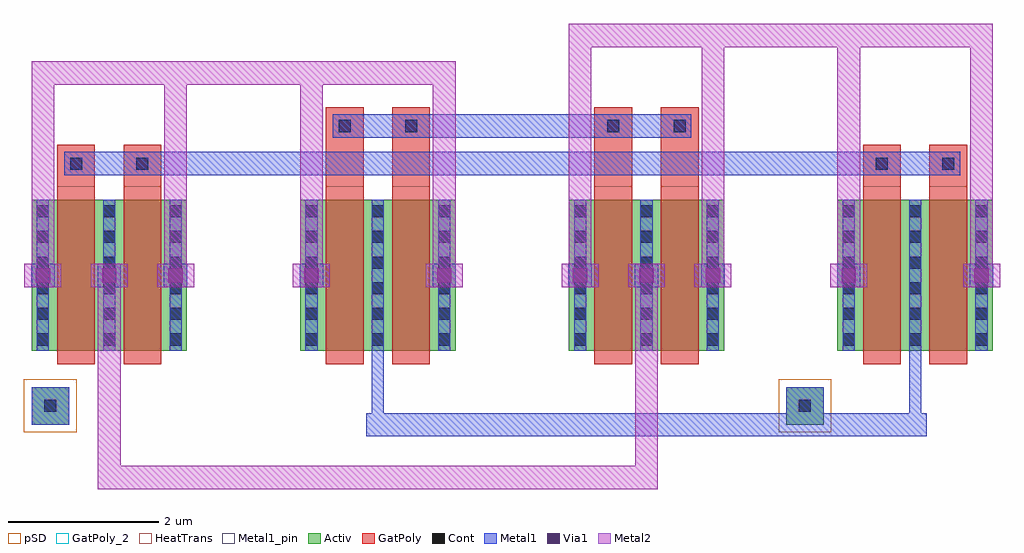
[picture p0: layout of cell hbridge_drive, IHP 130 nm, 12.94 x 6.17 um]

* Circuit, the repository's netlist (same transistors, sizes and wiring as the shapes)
* hbridge_drive LVS schematic (ng=2 expanded)
.subckt hbridge_drive exc_out probe_p probe_n phi_p phi_n gnd
MMS1_0 exc_out phi_p probe_p gnd sg13_lv_nmos w=2u l=0.5u ng=1 m=1
MMS1_1 probe_p phi_p exc_out gnd sg13_lv_nmos w=2u l=0.5u ng=1 m=1
MMS2_0 gnd phi_n probe_p gnd sg13_lv_nmos w=2u l=0.5u ng=1 m=1
MMS2_1 probe_p phi_n gnd gnd sg13_lv_nmos w=2u l=0.5u ng=1 m=1
MMS3_0 exc_out phi_n probe_n gnd sg13_lv_nmos w=2u l=0.5u ng=1 m=1
MMS3_1 probe_n phi_n exc_out gnd sg13_lv_nmos w=2u l=0.5u ng=1 m=1
MMS4_0 gnd phi_p probe_n gnd sg13_lv_nmos w=2u l=0.5u ng=1 m=1
MMS4_1 probe_n phi_p gnd gnd sg13_lv_nmos w=2u l=0.5u ng=1 m=1
.ends hbridge_drive

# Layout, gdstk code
import gdstk
lib = gdstk.Library(unit=1e-6, precision=1e-09)
def R(c, l, rs):  # rectangles x0, y0, x1, y1
    for r in rs: c.add(gdstk.rectangle(r[:2], r[2:], *l))
def A(c, l, x, y, w, h, nx, ny, dx, dy):  # array of equal rectangles
    R(c, l, [(x+i*dx, y+j*dy, x+i*dx+w, y+j*dy+h) for i in range(nx) for j in range(ny)])
Activ = (1, 0)
GatPoly = (5, 0)
GatPoly_2 = (5, 2)
Cont = (6, 0)
Metal1 = (8, 0)
Metal1_pin = (8, 2)
Metal2 = (10, 0)
pSD = (14, 0)
Via1 = (19, 0)
HeatTrans = (51, 0)

nmos = lib.new_cell('nmos')
A(nmos, Activ, 0, 0, 0.3, 0.3, 3, 1, 0.88, 0)
R(nmos, Activ, [(0,0,2.06,2)])
R(nmos, GatPoly, [(0.34,-0.18,0.84,2.18), (1.22,-0.18,1.72,2.18)])
R(nmos, GatPoly_2, [(0.34,-0.18,0.84,2.18)])
A(nmos, Cont, 0.07, 0.07, 0.16, 0.16, 3, 6, 0.88, 0.34)
A(nmos, Metal1, 0.07, 0, 0.16, 2, 3, 1, 0.88, 0)
R(nmos, Metal1_pin, [(0.07,0,0.23,2), (0.95,0,1.11,2)])
R(nmos, HeatTrans, [(0.34,-0.18,0.84,2.18), (1.22,-0.18,1.72,2.18)])
nmos.add(gdstk.Label('nmos', (0.59,1), layer=63, texttype=0))
nmos.add(gdstk.Label('nmos', (0.59,1), layer=51, texttype=0))
nmos.add(gdstk.Label('nmos', (1.47,1), layer=51, texttype=0))

hbridge_drive = lib.new_cell('hbridge_drive')
R(hbridge_drive, Activ, [(0,-0.8,0.5,-0.3), (10,-0.8,10.5,-0.3)])
R(hbridge_drive, GatPoly, [(0.34,2.36,0.84,2.91), (1.22,2.36,1.72,2.91), (3.9,2.36,4.4,3.41), (4.78,2.36,5.28,3.41), (7.46,2.36,7.96,3.41), (8.34,2.36,8.84,3.41), (11.02,2.36,11.52,2.91), (11.9,2.36,12.4,2.91)])
R(hbridge_drive, Cont, [(0.17,-0.63,0.33,-0.47), (10.17,-0.63,10.33,-0.47), (0.51,2.58,0.67,2.74), (1.39,2.58,1.55,2.74), (11.19,2.58,11.35,2.74), (12.07,2.58,12.23,2.74), (4.07,3.08,4.23,3.24), (4.95,3.08,5.11,3.24), (7.63,3.08,7.79,3.24), (8.51,3.08,8.67,3.24)])
A(hbridge_drive, Metal1, -0.005, 1.025, 0.31, 0.31, 3, 1, 0.88, 0)
A(hbridge_drive, Metal1, 7.115, 1.025, 0.31, 0.31, 3, 1, 0.88, 0)
R(hbridge_drive, Metal1, [(4.435,-0.955,11.865,-0.645), (0,-0.8,0.5,-0.3), (4.51,-0.8,4.67,0.18), (10,-0.8,10.5,-0.3), (11.63,-0.8,11.79,0.18), (3.555,1.025,3.865,1.335), (5.315,1.025,5.625,1.335), (10.675,1.025,10.985,1.335), (12.435,1.025,12.745,1.335), (0.435,2.505,0.745,2.815), (0.435,2.505,12.305,2.815), (1.315,2.505,1.625,2.815), (11.115,2.505,11.425,2.815), (11.995,2.505,12.305,2.815), (3.995,3.005,4.305,3.315), (3.995,3.005,8.745,3.315), (4.875,3.005,5.185,3.315), (7.555,3.005,7.865,3.315), (8.435,3.005,8.745,3.315)])
A(hbridge_drive, Metal2, -0.095, 1.025, 0.49, 0.31, 3, 1, 0.88, 0)
A(hbridge_drive, Metal2, 7.025, 1.025, 0.49, 0.31, 3, 1, 0.88, 0)
R(hbridge_drive, Metal2, [(0.88,-1.655,1.18,1.335), (0.88,-1.655,8.3,-1.345), (8,-1.655,8.3,1.335), (0,1.025,0.3,4.015), (1.76,1.025,2.06,4.015), (3.465,1.025,3.955,1.335), (3.56,1.025,3.86,4.015), (5.225,1.025,5.715,1.335), (5.32,1.025,5.62,4.015), (7.12,1.025,7.42,4.515), (8.88,1.025,9.18,4.515), (10.585,1.025,11.075,1.335), (10.68,1.025,10.98,4.515), (12.345,1.025,12.835,1.335), (12.44,1.025,12.74,4.515), (0,3.705,5.62,4.015), (7.12,4.205,12.74,4.515)])
R(hbridge_drive, pSD, [(-0.1,-0.9,0.6,-0.2), (9.9,-0.9,10.6,-0.2)])
A(hbridge_drive, Via1, 0.055, 1.085, 0.19, 0.19, 3, 1, 0.88, 0)
A(hbridge_drive, Via1, 7.175, 1.085, 0.19, 0.19, 3, 1, 0.88, 0)
R(hbridge_drive, Via1, [(3.615,1.085,3.805,1.275), (5.375,1.085,5.565,1.275), (10.735,1.085,10.925,1.275), (12.495,1.085,12.685,1.275)])
hbridge_drive.add(gdstk.Reference(nmos, (0,0.18)))
hbridge_drive.add(gdstk.Reference(nmos, (3.56,0.18)))
hbridge_drive.add(gdstk.Reference(nmos, (7.12,0.18)))
hbridge_drive.add(gdstk.Reference(nmos, (10.68,0.18)))

lib.write_gds('hbridge_drive.gds')
